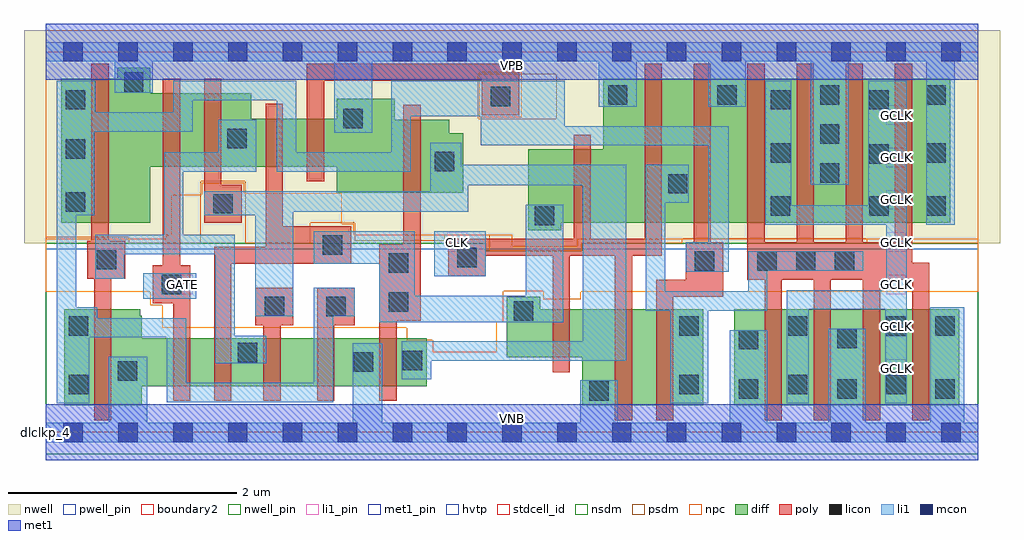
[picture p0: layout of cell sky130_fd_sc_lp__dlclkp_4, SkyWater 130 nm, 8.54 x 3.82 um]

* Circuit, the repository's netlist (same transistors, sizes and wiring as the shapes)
* Copyright 2020 The SkyWater PDK Authors
*
* Licensed under the Apache License, Version 2.0 (the "License");
* you may not use this file except in compliance with the License.
* You may obtain a copy of the License at
*
*     https://www.apache.org/licenses/LICENSE-2.0
*
* Unless required by applicable law or agreed to in writing, software
* distributed under the License is distributed on an "AS IS" BASIS,
* WITHOUT WARRANTIES OR CONDITIONS OF ANY KIND, either express or implied.
* See the License for the specific language governing permissions and
* limitations under the License.
*
* SPDX-License-Identifier: Apache-2.0

.SUBCKT sky130_fd_sc_lp__dlclkp_4 CLK GATE VGND VNB VPB VPWR GCLK
*.PININFO CLK:I GATE:I VGND:I VNB:I VPB:I VPWR:I GCLK:O
MI662 net75 m1 VPWR VPB sky130_fd_pr__pfet_01v8_hvt m=1 w=0.42U l=0.15U mult=1
+ sa=0.265 sb=0.265 sd=0.28 area=0.063 perim=1.14
MI664 M0 clkpos net75 VPB sky130_fd_pr__pfet_01v8_hvt m=1 w=0.42U l=0.15U mult=1
+ sa=0.265 sb=0.265 sd=0.28 area=0.063 perim=1.14
MI659 net63 CLK VPWR VPB sky130_fd_pr__pfet_01v8_hvt m=1 w=1.26U l=0.15U mult=1
+ sa=0.265 sb=0.265 sd=0.28 area=0.063 perim=1.14
MI658 net63 m1 VPWR VPB sky130_fd_pr__pfet_01v8_hvt m=1 w=1.26U l=0.15U mult=1
+ sa=0.265 sb=0.265 sd=0.28 area=0.063 perim=1.14
MI19 m1 M0 VPWR VPB sky130_fd_pr__pfet_01v8_hvt m=1 w=1.26U l=0.15U mult=1 sa=0.265
+ sb=0.265 sd=0.28 area=0.063 perim=1.14
MI38 M0 clkneg net54 VPB sky130_fd_pr__pfet_01v8_hvt m=1 w=0.64U l=0.15U mult=1
+ sa=0.265 sb=0.265 sd=0.28 area=0.063 perim=1.14
MI37 net54 GATE VPWR VPB sky130_fd_pr__pfet_01v8_hvt m=1 w=0.64U l=0.15U mult=1
+ sa=0.265 sb=0.265 sd=0.28 area=0.063 perim=1.14
MI47 clkneg clkpos VPWR VPB sky130_fd_pr__pfet_01v8_hvt m=1 w=0.64U l=0.15U mult=1
+ sa=0.265 sb=0.265 sd=0.28 area=0.063 perim=1.14
MI45 clkpos CLK VPWR VPB sky130_fd_pr__pfet_01v8_hvt m=1 w=0.64U l=0.15U mult=1
+ sa=0.265 sb=0.265 sd=0.28 area=0.063 perim=1.14
MI660 GCLK net63 VPWR VPB sky130_fd_pr__pfet_01v8_hvt m=4 w=1.26U l=0.15U mult=1
+ sa=0.265 sb=0.265 sd=0.28 area=0.063 perim=1.14
MI20 m1 M0 VGND VNB sky130_fd_pr__nfet_01v8 m=1 w=0.84U l=0.15U mult=1 sa=0.265
+ sb=0.265 sd=0.28 area=0.063 perim=1.14
MI655 M0 clkneg net110 VNB sky130_fd_pr__nfet_01v8 m=1 w=0.42U l=0.15U mult=1 sa=0.265
+ sb=0.265 sd=0.28 area=0.063 perim=1.14
MI654 net110 m1 VGND VNB sky130_fd_pr__nfet_01v8 m=1 w=0.42U l=0.15U mult=1 sa=0.265
+ sb=0.265 sd=0.28 area=0.063 perim=1.14
MI34 M0 clkpos net91 VNB sky130_fd_pr__nfet_01v8 m=1 w=0.42U l=0.15U mult=1 sa=0.265
+ sb=0.265 sd=0.28 area=0.063 perim=1.14
MI657 net99 CLK VGND VNB sky130_fd_pr__nfet_01v8 m=1 w=0.84U l=0.15U mult=1 sa=0.265
+ sb=0.265 sd=0.28 area=0.063 perim=1.14
MI656 net63 m1 net99 VNB sky130_fd_pr__nfet_01v8 m=1 w=0.84U l=0.15U mult=1 sa=0.265
+ sb=0.265 sd=0.28 area=0.063 perim=1.14
MI36 net91 GATE VGND VNB sky130_fd_pr__nfet_01v8 m=1 w=0.42U l=0.15U mult=1 sa=0.265
+ sb=0.265 sd=0.28 area=0.063 perim=1.14
MI46 clkneg clkpos VGND VNB sky130_fd_pr__nfet_01v8 m=1 w=0.42U l=0.15U mult=1
+ sa=0.265 sb=0.265 sd=0.28 area=0.063 perim=1.14
MI44 clkpos CLK VGND VNB sky130_fd_pr__nfet_01v8 m=1 w=0.42U l=0.15U mult=1 sa=0.265
+ sb=0.265 sd=0.28 area=0.063 perim=1.14
MI653 GCLK net63 VGND VNB sky130_fd_pr__nfet_01v8 m=4 w=0.84U l=0.15U mult=1 sa=0.265
+ sb=0.265 sd=0.28 area=0.063 perim=1.14
.ENDS sky130_fd_sc_lp__dlclkp_4

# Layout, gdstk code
import gdstk
lib = gdstk.Library(unit=1e-6, precision=1e-09)
def R(c, l, rs):  # rectangles x0, y0, x1, y1
    for r in rs: c.add(gdstk.rectangle(r[:2], r[2:], *l))
def A(c, l, x, y, w, h, nx, ny, dx, dy):  # array of equal rectangles
    R(c, l, [(x+i*dx, y+j*dy, x+i*dx+w, y+j*dy+h) for i in range(nx) for j in range(ny)])
def P(c, l, *ps):  # polygons
    for p in ps: c.add(gdstk.Polygon(p, *l))
nwell_pin = (64, 16)
nwell = (64, 20)
diff = (65, 20)
poly = (66, 20)
licon = (66, 44)
li1_pin = (67, 16)
li1 = (67, 20)
mcon = (67, 44)
met1_pin = (68, 16)
met1 = (68, 20)
hvtp = (78, 44)
stdcell_id = (81, 4)
nsdm = (93, 44)
psdm = (94, 20)
npc = (95, 20)
pwell_pin = (122, 16)
boundary2 = (236, 0)

sky130_fd_sc_lp__dlclkp_ = lib.new_cell('sky130_fd_sc_lp__dlclkp_4')
R(sky130_fd_sc_lp__dlclkp_, nwell_pin, [(0,3.085,8.16,3.33)])
P(sky130_fd_sc_lp__dlclkp_, nwell, [(8.35,3.52),(-0.19,3.52),(-0.19,1.655),(3.85,1.655),(3.85,1.59),(4.69,1.59),(4.69,1.655),(8.35,1.655)])
R(sky130_fd_sc_lp__dlclkp_, diff, [(6.025,0.235,7.995,1.075)])
P(sky130_fd_sc_lp__dlclkp_, diff, [(3.335,0.825),(0.84,0.825),(0.84,1.02),(0.825,1.02),(0.825,1.075),(0.16,1.075),(0.16,0.235),(0.84,0.235),(0.84,0.405),(3.335,0.405)],
  [(3.655,2.615),(3.53,2.615),(3.53,2.735),(3.055,2.735),(3.055,2.92),(2.545,2.92),(2.545,2.745),(1.8,2.745),(1.8,2.965),(0.915,2.965),(0.915,3.19),(0.625,3.19),(0.625,3.095),(0.135,3.095),(0.135,1.835),(0.915,1.835),(0.915,2.325),(2.545,2.325),(2.545,2.095),(3.655,2.095)],
  [(5.755,1.075),(4.325,1.075),(4.325,1.185),(4.035,1.185),(4.035,0.655),(4.695,0.655),(4.695,0.235),(5.755,0.235)],
  [(7.915,3.095),(4.88,3.095),(4.88,2.475),(4.22,2.475),(4.22,1.77),(4.51,1.77),(4.51,1.835),(7.915,1.835)])
P(sky130_fd_sc_lp__dlclkp_, poly, [(0.695,1.675),(0.55,1.675),(0.55,3.225),(0.4,3.225),(0.4,1.675),(0.365,1.675),(0.365,1.345),(0.425,1.345),(0.425,0.105),(0.575,0.105),(0.575,1.345),(0.695,1.345)],
  [(1.265,1.46),(1.175,1.46),(1.175,3.095),(1.025,3.095),(1.025,1.46),(0.935,1.46),(0.935,1.13),(1.115,1.13),(1.115,0.275),(1.265,0.275)],
  [(1.715,2.165),(1.535,2.165),(1.535,3.095),(1.385,3.095),(1.385,1.835),(1.715,1.835)],
  [(2.165,1.265),(1.835,1.265),(1.835,0.935),(1.905,0.935),(1.905,0.275),(2.055,0.275),(2.055,0.935),(2.165,0.935)],
  [(2.675,1.805),(2.075,1.805),(2.075,2.875),(1.925,2.875),(1.925,1.625),(1.475,1.625),(1.475,0.275),(1.625,0.275),(1.625,1.475),(2.675,1.475)],
  [(2.705,1.265),(2.375,1.265),(2.375,0.275),(2.525,0.275),(2.525,0.935),(2.705,0.935)],
  [(3.28,2.865),(3.13,2.865),(3.13,1.645),(2.92,1.645),(2.92,0.275),(3.07,0.275),(3.07,0.975),(3.28,0.975)],
  [(4.145,3.225),(2.285,3.225),(2.285,2.195),(2.435,2.195),(2.435,3.075),(3.815,3.075),(3.815,2.775),(4.145,2.775)],
  [(5.39,3.225),(5.24,3.225),(5.24,1.695),(4.77,1.695),(4.77,2.605),(4.62,2.605),(4.62,1.695),(3.52,1.695),(3.52,1.365),(3.85,1.365),(3.85,1.545),(4.435,1.545),(4.435,0.525),(4.585,0.525),(4.585,1.545),(4.98,1.545),(4.98,0.105),(5.13,0.105),(5.13,1.545),(5.39,1.545)],
  [(5.93,1.665),(5.82,1.665),(5.82,3.225),(5.67,3.225),(5.67,1.665),(5.6,1.665),(5.6,1.335),(5.34,1.335),(5.34,0.105),(5.49,0.105),(5.49,1.185),(5.93,1.185)],
  [(7.73,1.485),(7.58,1.485),(7.58,3.225),(7.43,3.225),(7.43,1.665),(7.15,1.665),(7.15,3.225),(7,3.225),(7,1.665),(6.72,1.665),(6.72,3.225),(6.57,3.225),(6.57,1.665),(6.29,1.665),(6.29,3.225),(6.14,3.225),(6.14,1.335),(6.29,1.335),(6.29,0.105),(6.44,0.105),(6.44,1.335),(6.72,1.335),(6.72,0.105),(6.87,0.105),(6.87,1.335),(7.15,1.335),(7.15,0.105),(7.3,0.105),(7.3,1.335),(7.58,1.335),(7.58,0.105),(7.73,0.105)])
A(sky130_fd_sc_lp__dlclkp_, licon, 6.065, 0.295, 0.17, 0.17, 3, 1, 0.86, 0)
A(sky130_fd_sc_lp__dlclkp_, licon, 6.225, 1.415, 0.17, 0.17, 3, 1, 0.34, 0)
A(sky130_fd_sc_lp__dlclkp_, licon, 6.345, 1.895, 0.17, 0.17, 1, 3, 0, 0.465)
A(sky130_fd_sc_lp__dlclkp_, licon, 6.775, 2.185, 0.17, 0.17, 1, 3, 0, 0.34)
R(sky130_fd_sc_lp__dlclkp_, licon, [(4.755,0.275,4.925,0.445), (0.2,0.335,0.37,0.505), (5.545,0.335,5.715,0.505), (6.495,0.335,6.665,0.505), (7.355,0.335,7.525,0.505), (0.63,0.45,0.8,0.62), (2.695,0.53,2.865,0.7), (3.125,0.545,3.295,0.715), (1.68,0.615,1.85,0.785), (6.065,0.725,6.235,0.895), (6.925,0.735,7.095,0.905), (0.2,0.845,0.37,1.015), (5.545,0.845,5.715,1.015), (6.495,0.845,6.665,1.015), (7.355,0.845,7.525,1.015), (7.785,0.845,7.955,1.015), (4.095,0.975,4.265,1.145), (1.915,1.015,2.085,1.185), (2.455,1.015,2.625,1.185), (3,1.055,3.17,1.225), (1.015,1.21,1.185,1.38), (3,1.395,3.17,1.565), (5.68,1.415,5.85,1.585), (0.445,1.425,0.615,1.595), (3.6,1.445,3.77,1.615), (2.425,1.555,2.595,1.725), (4.28,1.81,4.45,1.98), (7.205,1.895,7.375,2.065), (7.705,1.895,7.875,2.065), (1.465,1.915,1.635,2.085), (0.175,1.93,0.345,2.1), (5.445,2.09,5.615,2.26), (3.405,2.285,3.575,2.455), (7.205,2.35,7.375,2.52), (7.705,2.36,7.875,2.53), (0.175,2.395,0.345,2.565), (1.59,2.485,1.76,2.655), (2.605,2.66,2.775,2.83), (0.175,2.825,0.345,2.995), (7.205,2.825,7.375,2.995), (3.895,2.855,4.065,3.025), (4.92,2.865,5.09,3.035), (5.875,2.865,6.045,3.035), (7.705,2.865,7.875,3.035), (0.685,2.98,0.855,3.15)])
A(sky130_fd_sc_lp__dlclkp_, li1_pin, 7.355, 0.47, 0.17, 0.17, 1, 7, 0, 0.37)
R(sky130_fd_sc_lp__dlclkp_, li1_pin, [(1.115,1.21,1.285,1.38), (3.515,1.58,3.685,1.75)])
R(sky130_fd_sc_lp__dlclkp_, li1, [(0.855,1.17,1.315,1.39), (3.4,1.365,3.85,1.76)])
P(sky130_fd_sc_lp__dlclkp_, li1, [(8.16,0.085),(8.035,0.085),(8.035,1.095),(7.74,1.095),(7.74,0.085),(7.175,0.085),(7.175,0.905),(6.845,0.905),(6.845,0.085),(6.315,0.085),(6.315,0.895),(5.985,0.895),(5.985,0.085),(5.005,0.085),(5.005,0.455),(4.675,0.455),(4.675,0.085),(2.945,0.085),(2.945,0.78),(2.685,0.78),(2.685,0.085),(0.89,0.085),(0.89,0.66),(0.55,0.66),(0.55,0.085),(0,0.085),(0,-0.085),(8.16,-0.085)],
  [(1.93,0.845),(1.655,0.845),(1.655,1.73),(1.205,1.73),(1.205,2.28),(1.84,2.28),(1.84,2.735),(1.51,2.735),(1.51,2.45),(1.035,2.45),(1.035,1.73),(0.435,1.73),(0.435,1.345),(0.685,1.345),(0.685,1.56),(1.485,1.56),(1.485,0.605),(1.93,0.605)],
  [(4.53,1.99),(4.2,1.99),(4.2,1.195),(3.23,1.195),(3.23,1.76),(2.345,1.76),(2.345,1.475),(2.92,1.475),(2.92,0.965),(4.53,0.965)],
  [(5.08,2.34),(3.635,2.34),(3.635,2.535),(3.365,2.535),(3.365,2.11),(1.385,2.11),(1.385,1.9),(1.835,1.9),(1.835,1.015),(2.165,1.015),(2.165,1.93),(3.695,1.93),(3.695,2.16),(4.7,2.16),(4.7,0.795),(3.115,0.795),(3.115,0.465),(3.375,0.465),(3.375,0.625),(5.08,0.625)],
  [(5.975,2.68),(4.54,2.68),(4.54,3.075),(3.025,3.075),(3.025,2.45),(2.19,2.45),(2.19,3.075),(1.115,3.075),(1.115,2.8),(0.435,2.8),(0.435,3.075),(0.095,3.075),(0.095,0.255),(0.38,0.255),(0.38,0.83),(1.06,0.83),(1.06,0.265),(2.515,0.265),(2.515,1.015),(2.705,1.015),(2.705,1.265),(2.345,1.265),(2.345,0.435),(1.23,0.435),(1.23,1),(0.45,1),(0.45,1.095),(0.265,1.095),(0.265,1.9),(0.425,1.9),(0.425,2.63),(1.285,2.63),(1.285,2.905),(2.02,2.905),(2.02,2.28),(3.195,2.28),(3.195,2.765),(3.805,2.765),(3.805,2.51),(5.795,2.51),(5.795,1.665),(5.6,1.665),(5.6,1.405),(5.975,1.405)],
  [(7.155,1.585),(6.145,1.585),(6.145,1.235),(5.42,1.235),(5.42,2.01),(5.625,2.01),(5.625,2.34),(5.25,2.34),(5.25,1.065),(5.465,1.065),(5.465,0.255),(5.795,0.255),(5.795,1.065),(6.315,1.065),(6.315,1.415),(7.155,1.415)],
  [(7.535,3.075),(7.195,3.075),(7.195,1.985),(6.525,1.985),(6.525,3.075),(6.295,3.075),(6.295,1.815),(7.355,1.815),(7.355,1.245),(6.485,1.245),(6.485,0.255),(6.675,0.255),(6.675,1.075),(7.345,1.075),(7.345,0.255),(7.535,0.255)],
  [(8.16,3.415),(0,3.415),(0,3.245),(0.605,3.245),(0.605,2.97),(0.935,2.97),(0.935,3.245),(2.525,3.245),(2.525,2.62),(2.855,2.62),(2.855,3.245),(4.84,3.245),(4.84,2.85),(5.17,2.85),(5.17,3.245),(5.795,3.245),(5.795,2.85),(6.125,2.85),(6.125,3.245),(6.695,3.245),(6.695,2.165),(7.025,2.165),(7.025,3.245),(7.705,3.245),(7.705,1.815),(7.955,1.815),(7.955,3.245),(8.16,3.245)])
A(sky130_fd_sc_lp__dlclkp_, mcon, 0.155, -0.085, 0.17, 0.17, 17, 2, 0.48, 3.33)
R(sky130_fd_sc_lp__dlclkp_, met1_pin, [(0,0,8.16,0.245), (0,3.085,8.16,3.33)])
R(sky130_fd_sc_lp__dlclkp_, met1, [(0,-0.245,8.16,0.245), (0,3.085,8.16,3.575)])
R(sky130_fd_sc_lp__dlclkp_, hvtp, [(0,1.6,8.16,3.33)])
R(sky130_fd_sc_lp__dlclkp_, stdcell_id, [(0,0,8.16,3.33)])
P(sky130_fd_sc_lp__dlclkp_, nsdm, [(8.16,1.655),(4.69,1.655),(4.69,1.59),(3.85,1.59),(3.85,1.655),(0,1.655),(0,-0.19),(8.16,-0.19)])
P(sky130_fd_sc_lp__dlclkp_, psdm, [(8.16,3.52),(4.465,3.52),(4.465,2.745),(3.785,2.745),(3.785,3.135),(4.465,3.135),(4.465,3.52),(0,3.52),(0,1.705),(0.725,1.705),(0.725,1.655),(1.355,1.655),(1.355,2.195),(1.745,2.195),(1.745,1.655),(2.315,1.655),(2.315,1.835),(2.705,1.835),(2.705,1.675),(3.49,1.675),(3.49,1.725),(3.88,1.725),(3.88,1.59),(4.69,1.59),(4.69,1.655),(5.57,1.655),(5.57,1.695),(7.185,1.695),(7.185,1.655),(8.16,1.655)])
R(sky130_fd_sc_lp__dlclkp_, npc, [(3.795,2.755,4.165,3.155)])
P(sky130_fd_sc_lp__dlclkp_, npc, [(8.16,1.695),(4.65,1.695),(4.65,1.63),(4.08,1.63),(4.08,1.73),(2.695,1.73),(2.695,1.825),(2.59,1.825),(2.59,2.09),(1.735,2.09),(1.735,2.185),(1.365,2.185),(1.365,2.08),(1.1,2.08),(1.1,1.73),(1.055,1.73),(1.055,1.695),(0,1.695),(0,1.23),(0.915,1.23),(0.915,1.11),(1.02,1.11),(1.02,0.915),(3.16,0.915),(3.16,0.805),(3.385,0.805),(3.385,0.7),(3.945,0.7),(3.945,0.965),(4.005,0.965),(4.005,1.235),(4.355,1.235),(4.355,1.165),(4.68,1.165),(4.68,1.23),(8.16,1.23)])
R(sky130_fd_sc_lp__dlclkp_, pwell_pin, [(0,0,8.16,0.245)])
R(sky130_fd_sc_lp__dlclkp_, boundary2, [(0,0,8.16,3.33)])
sky130_fd_sc_lp__dlclkp_.add(gdstk.Label('VNB', (4.08,0.123), layer=64, texttype=59))
sky130_fd_sc_lp__dlclkp_.add(gdstk.Label('VPB', (4.08,3.208), layer=64, texttype=5))
sky130_fd_sc_lp__dlclkp_.add(gdstk.Label('dlclkp_4', (0,0), layer=83, texttype=44))
sky130_fd_sc_lp__dlclkp_.add(gdstk.Label('VPWR', (4.08,3.208), layer=68, texttype=5))
sky130_fd_sc_lp__dlclkp_.add(gdstk.Label('VGND', (4.08,0.123), layer=68, texttype=5))
sky130_fd_sc_lp__dlclkp_.add(gdstk.Label('GCLK', (7.44,0.555), layer=67, texttype=5))
sky130_fd_sc_lp__dlclkp_.add(gdstk.Label('GCLK', (7.44,0.925), layer=67, texttype=5))
sky130_fd_sc_lp__dlclkp_.add(gdstk.Label('GCLK', (7.44,1.295), layer=67, texttype=5))
sky130_fd_sc_lp__dlclkp_.add(gdstk.Label('GCLK', (7.44,1.665), layer=67, texttype=5))
sky130_fd_sc_lp__dlclkp_.add(gdstk.Label('GCLK', (7.44,2.035), layer=67, texttype=5))
sky130_fd_sc_lp__dlclkp_.add(gdstk.Label('GCLK', (7.44,2.405), layer=67, texttype=5))
sky130_fd_sc_lp__dlclkp_.add(gdstk.Label('GCLK', (7.44,2.775), layer=67, texttype=5))
sky130_fd_sc_lp__dlclkp_.add(gdstk.Label('CLK', (3.6,1.665), layer=67, texttype=5))
sky130_fd_sc_lp__dlclkp_.add(gdstk.Label('GATE', (1.2,1.295), layer=67, texttype=5))

lib.write_gds('sky130_fd_sc_lp__dlclkp_4.gds')
